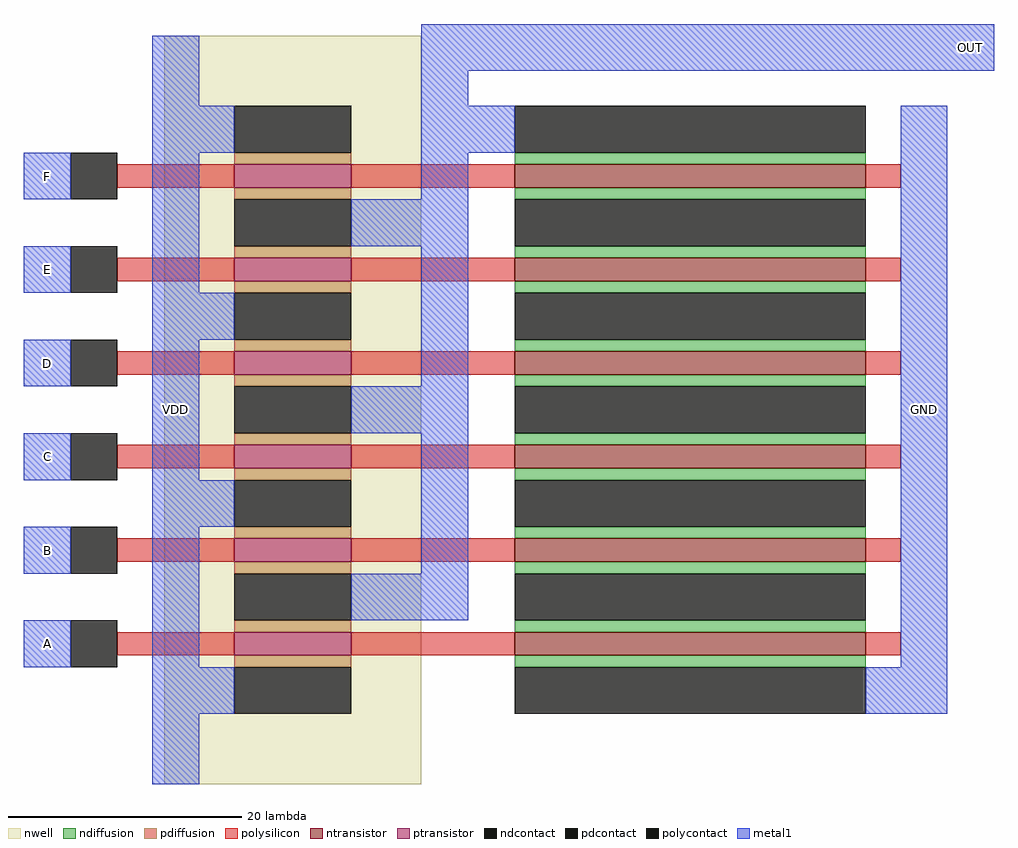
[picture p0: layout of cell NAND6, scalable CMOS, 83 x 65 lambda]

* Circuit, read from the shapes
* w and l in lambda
.subckt NAND6 A B C D E F GND OUT VDD
M1 n1 A GND VSUBS nfet w=30 l=2
M2 n2 B n1 VSUBS nfet w=30 l=2
M3 n3 C n2 VSUBS nfet w=30 l=2
M4 n4 D n3 VSUBS nfet w=30 l=2
M5 n5 E n4 VSUBS nfet w=30 l=2
M6 OUT F n5 VSUBS nfet w=30 l=2
M7 OUT A VDD n6 pfet w=10 l=2
M8 VDD B OUT n6 pfet w=10 l=2
M9 OUT C VDD n6 pfet w=10 l=2
M10 VDD D OUT n6 pfet w=10 l=2
M11 OUT E VDD n6 pfet w=10 l=2
M12 VDD F OUT n6 pfet w=10 l=2
.ends

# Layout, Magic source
magic
tech scmos
<< nwell >>
rect 6 -55 28 9
<< ntransistor >>
rect 36 -4 66 -2
rect 36 -12 66 -10
rect 36 -20 66 -18
rect 36 -28 66 -26
rect 36 -36 66 -34
rect 36 -44 66 -42
<< ptransistor >>
rect 12 -4 22 -2
rect 12 -12 22 -10
rect 12 -20 22 -18
rect 12 -28 22 -26
rect 12 -36 22 -34
rect 12 -44 22 -42
<< ndiffusion >>
rect 36 -2 66 -1
rect 36 -5 66 -4
rect 36 -10 66 -9
rect 36 -13 66 -12
rect 36 -18 66 -17
rect 36 -21 66 -20
rect 36 -26 66 -25
rect 36 -29 66 -28
rect 36 -34 66 -33
rect 36 -37 66 -36
rect 36 -42 66 -41
rect 36 -45 66 -44
<< pdiffusion >>
rect 12 -2 22 -1
rect 12 -5 22 -4
rect 12 -10 22 -9
rect 12 -13 22 -12
rect 12 -18 22 -17
rect 12 -21 22 -20
rect 12 -26 22 -25
rect 12 -29 22 -28
rect 12 -34 22 -33
rect 12 -37 22 -36
rect 12 -42 22 -41
rect 12 -45 22 -44
<< ndcontact >>
rect 36 -1 66 3
rect 36 -9 66 -5
rect 36 -17 66 -13
rect 36 -25 66 -21
rect 36 -33 66 -29
rect 36 -41 66 -37
rect 36 -49 66 -45
<< pdcontact >>
rect 12 -1 22 3
rect 12 -9 22 -5
rect 12 -17 22 -13
rect 12 -25 22 -21
rect 12 -33 22 -29
rect 12 -41 22 -37
rect 12 -49 22 -45
<< polysilicon >>
rect 2 -4 12 -2
rect 22 -4 36 -2
rect 66 -4 69 -2
rect 2 -12 12 -10
rect 22 -12 36 -10
rect 66 -12 69 -10
rect 2 -20 12 -18
rect 22 -20 36 -18
rect 66 -20 69 -18
rect 2 -28 12 -26
rect 22 -28 36 -26
rect 66 -28 69 -26
rect 2 -36 12 -34
rect 22 -36 36 -34
rect 66 -36 69 -34
rect 2 -44 12 -42
rect 22 -44 36 -42
rect 66 -44 69 -42
<< polycontact >>
rect -2 -5 2 -1
rect -2 -13 2 -9
rect -2 -21 2 -17
rect -2 -29 2 -25
rect -2 -37 2 -33
rect -2 -45 2 -41
<< metal1 >>
rect 5 3 9 9
rect 28 6 77 10
rect 28 3 32 6
rect 5 -1 12 3
rect 28 -1 36 3
rect -6 -5 -2 -1
rect -6 -13 -2 -9
rect 5 -13 9 -1
rect 28 -5 32 -1
rect 22 -9 32 -5
rect 5 -17 12 -13
rect -6 -21 -2 -17
rect -6 -29 -2 -25
rect 5 -29 9 -17
rect 28 -21 32 -9
rect 22 -25 32 -21
rect 5 -33 12 -29
rect -6 -37 -2 -33
rect -6 -45 -2 -41
rect 5 -45 9 -33
rect 28 -37 32 -25
rect 22 -41 32 -37
rect 69 -45 73 3
rect 5 -49 12 -45
rect 66 -49 73 -45
rect 5 -55 9 -49
<< labels >>
rlabel metal1 69 -49 73 3 7 GND
rlabel metal1 5 -55 9 9 3 VDD
rlabel metal1 -6 -45 -2 -41 3 A
rlabel metal1 -6 -37 -2 -33 3 B
rlabel metal1 -6 -29 -2 -25 3 C
rlabel metal1 -6 -21 -2 -17 3 D
rlabel metal1 -6 -13 -2 -9 3 E
rlabel metal1 -6 -5 -2 -1 3 F
rlabel metal1 73 6 77 10 6 OUT
<< end >>
